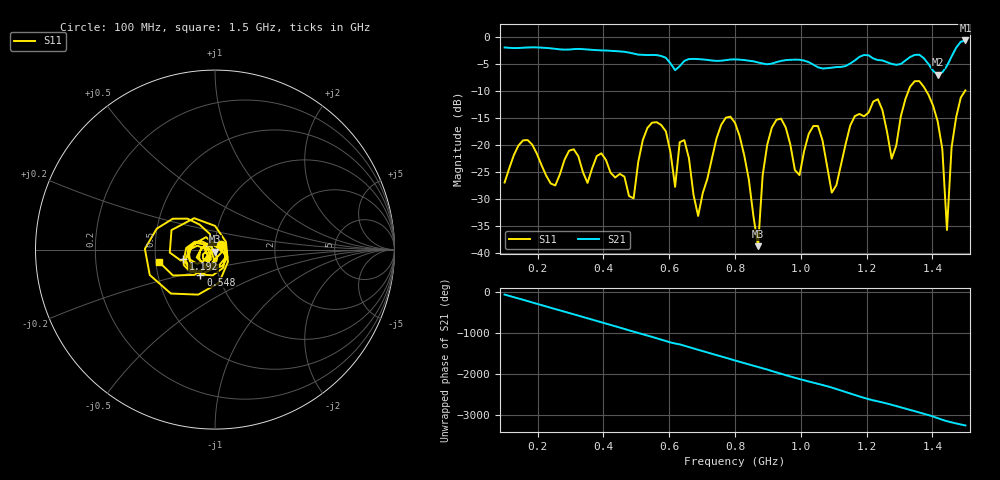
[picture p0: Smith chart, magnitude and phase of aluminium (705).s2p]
! NanoVNA-App
! Date: 2025-09-25 15:00:46
! Start: 100MHz Stop: 1,5GHz Points: 101
! S-Parameter data: F S11 S21 S12 S22
# Hz S RI R 50
!  Frequency  S11_Real  S11_Imag  S21_Real  S21_Imag  S12_Real  S12_Imag  S22_Real  S22_Imag
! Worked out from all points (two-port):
!   101 points, 100 MHz to 1.5 GHz, reference 50 ohm
!   highest |S21| = -0.62 dB at 1.5 GHz (marker M1); lowest = -7.0 dB at 1.416 GHz (marker M2)
!   |S21| within 3 dB of the highest: start of sweep to 580.8 MHz; 1.458 GHz to end of sweep (the widest 2 of 4)
!   lowest |S11| = -38.8 dB at 870 MHz (marker M3), VSWR 1.02, Z = 50.1 - j1.15 ohm
!   |S11| at or under -10 dB: start of sweep to 1.327 GHz; 1.381 GHz to 1.499 GHz (117.5 MHz wide, 8.16 % of centre)
!   S12 and S22 are empty: the file has one direction only
!   S11 on the Smith chart (normalised r, x): 100 MHz: 1.07, +0.06; 548 MHz: 0.82, -0.23; 1.192 GHz: 0.70, -0.08; 1.5 GHz: 0.52, -0.08
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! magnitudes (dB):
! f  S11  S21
! 100 MHz  -27.0  -1.9
! 156 MHz  -19.1  -2.0
! 338 MHz  -25.0  -2.2
! 492 MHz  -29.9  -3.1
! 548 MHz  -15.9  -3.3
! 576 MHz  -16.3  -3.5
! 618 MHz  -27.8  -6.1
! 646 MHz  -19.1  -4.4
! 688 MHz  -33.2  -4.1
! 800 MHz  -15.9  -4.1
! 870 MHz  -38.8  -4.7
! 912 MHz  -16.8  -4.9
! 996 MHz  -25.6  -4.2
! 1.038 GHz  -16.5  -5.1
! 1.094 GHz  -28.8  -5.7
! 1.192 GHz  -14.7  -3.3
! 1.276 GHz  -22.5  -5.0
! 1.346 GHz  -8.2  -3.3
! 1.416 GHz  -15.7  -7.0
! 1.444 GHz  -35.8  -5.3
! 1.458 GHz  -20.4  -3.6
! 1.5 GHz  -9.9  -0.6
